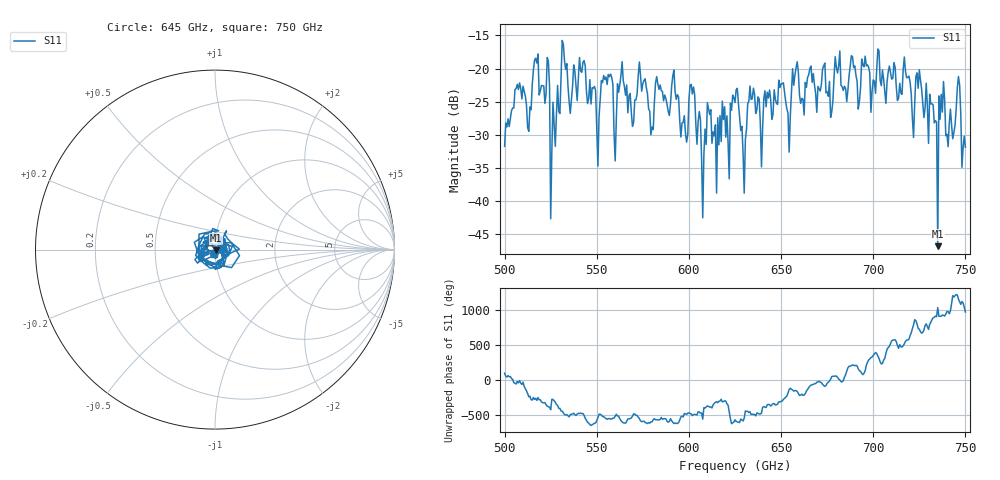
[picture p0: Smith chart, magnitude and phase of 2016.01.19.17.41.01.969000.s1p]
!Created with skrf (http://scikit-rf.org).
# GHz S RI R 50.0
!freq ReS11 ImS11
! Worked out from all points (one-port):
!   401 points, 500 GHz to 750 GHz, reference 50 ohm
!   lowest |S11| = -46.8 dB at 735 GHz (marker M1), VSWR 1.01, Z = 50.4 - j0.291 ohm
!   |S11| at or under -10 dB: start of sweep to end of sweep
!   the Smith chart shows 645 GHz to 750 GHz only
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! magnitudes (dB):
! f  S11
! 500 GHz  -31.7
! 506.9 GHz  -22.4
! 513.1 GHz  -29.5
! 516.9 GHz  -18.4
! 523.1 GHz  -18.3
! 526.2 GHz  -25.1
! 531.2 GHz  -15.8
! 541.9 GHz  -20.6
! 550.6 GHz  -34.7
! 556.2 GHz  -20.9
! 560.6 GHz  -27.6
! 562.5 GHz  -22.4
! 593.8 GHz  -23.9
! 598.1 GHz  -29.7
! 601.9 GHz  -23.8
! 608.1 GHz  -33.0
! 610.6 GHz  -26.1
! 621.2 GHz  -31.2
! 625 GHz  -25.1
! 629.4 GHz  -32.8
! 633.8 GHz  -24.7
! 656.2 GHz  -20.0
! 687.5 GHz  -19.7
! 718.8 GHz  -21.3
! 735 GHz  -46.8
! 736.9 GHz  -23.9
! 746.2 GHz  -21.2
! 750 GHz  -31.9
